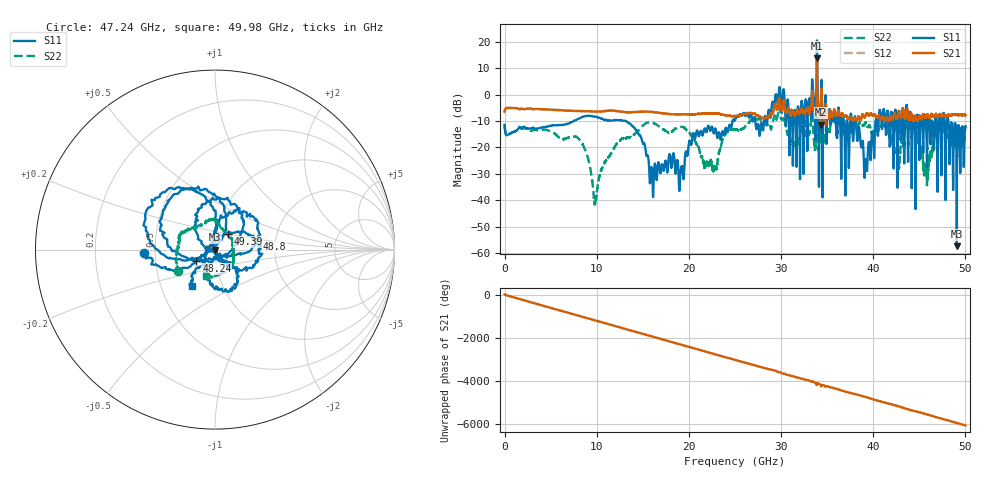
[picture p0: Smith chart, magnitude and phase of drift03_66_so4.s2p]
!Created with skrf (http://scikit-rf.org).
# Hz S RI R 50.0
!freq ReS11 ImS11 ReS21 ImS21 ReS12 ImS12 ReS22 ImS22
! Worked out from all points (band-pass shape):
!   10001 points, 300 kHz to 50 GHz, reference 50 ohm
!   highest |S21| = 13.82 dB at 33.9 GHz (marker M1); lowest = -11.3 dB at 34.32 GHz (marker M2)
!   |S21| within 3 dB of the highest: 33.89057 GHz to 33.90373 GHz (13.16 MHz wide, 0.0388 % of centre)
!   lowest |S11| = -57.4 dB at 49.07 GHz (marker M3), VSWR 1.00, Z = 49.9 - j0.111 ohm
!   |S11| at or under -10 dB: start of sweep to 7.488 GHz; 13.13 GHz to 24.74 GHz (11.61 GHz wide, 61.3 % of centre); 38.09 GHz to 40.25 GHz (2.16 GHz wide, 5.51 % of centre) (the widest 3 of 50)
!   |S22| runs from -41.6 to 6.3 dB; largest |S21 - S12| = 0.35
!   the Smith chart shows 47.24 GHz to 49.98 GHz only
!   S11 on the Smith chart (normalised r, x): 47.24 GHz: 0.44, -0.02; 48.24 GHz: 0.81, -0.10; 48.8 GHz: 1.59, +0.20; 49.39 GHz: 1.13, +0.20; 49.98 GHz: 0.72, -0.31
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300000  -0.2376 -0.1236  0.4667 0.0807  0.4652 0.0826  -0.2346 -0.13
1.440291e9  0.2102 0.0649  -0.5478 -0.0297  -0.5481 -0.0295  0.2116 -0.00402
2.915283e9  -0.2122 -0.0878  0.534 0.0515  0.5347 0.0516  -0.202 0.0401
4.415274e9  0.2057 0.1325  -0.5215 -0.0423  -0.5218 -0.042  0.1987 -0.0875
8.33525e9  0.2884 -0.2342  0.1462 0.4658  0.1462 0.4664  -0.0725 -0.1015
9.840241e9  -0.3648 0.1254  -0.1433 -0.4538  -0.1431 -0.4538  0.00848 0.00205
1.66702e10  0.027 0.0432  -0.3779 0.2529  -0.3785 0.2536  -0.1285 -0.2197
2.500015e10  -0.3259 -0.0147  -0.255 -0.297  -0.2542 -0.2983  -0.2129 0.029
2.895013e10  -0.3208 0.424  -0.2915 0.3249  -0.3043 0.2881  0.063 0.2213
3.006512e10  0.4018 0.2662  0.4509 -0.1975  0.4542 -0.183  0.1758 -0.2971
3.171011e10  -0.0938 0.1911  -0.3591 0.359  -0.3627 0.3573  0.0673 0.16
3.33351e10  0.6498 -0.8328  0.2529 -0.856  0.257 -0.8366  -0.1912 -0.4282
3.38951e10  -2.643 -10.26  -4.826 0.891  -4.541 1.095  0.5571 1.983
3.432009e10  -0.7769 -0.00294  -0.181 0.2014  -0.2432 0.1809  0.1423 -0.0767
4.167005e10  -0.2061 0.301  0.3159 0.00123  0.3149 0.00712  -0.1871 -0.0122
4.723502e10  -0.3935 -0.017  0.2927 0.3151  0.2924 0.3126  -0.2056 -0.1176
4.823501e10  -0.1033 -0.0624  0.113 -0.3913  0.1153 -0.3949  -0.0111 0.171
4.880001e10  0.2329 0.0596  -0.3428 -0.233  -0.3433 -0.2337  0.0969 0.0585
4.907001e10  -0.000767 -0.00111  -0.421 -0.0184  -0.4235 -0.0205  0.099 0.0113
4.9385e10  0.0704 0.0869  -0.3427 0.2342  -0.3423 0.2376  0.1024 -0.0581
4.998e10  -0.128 -0.2022  0.1209 0.3928  0.1252 0.394  -0.051 -0.1482
5e10  -0.1125 -0.2265  0.143 0.3824  0.1444 0.3803  -0.0538 -0.1437
